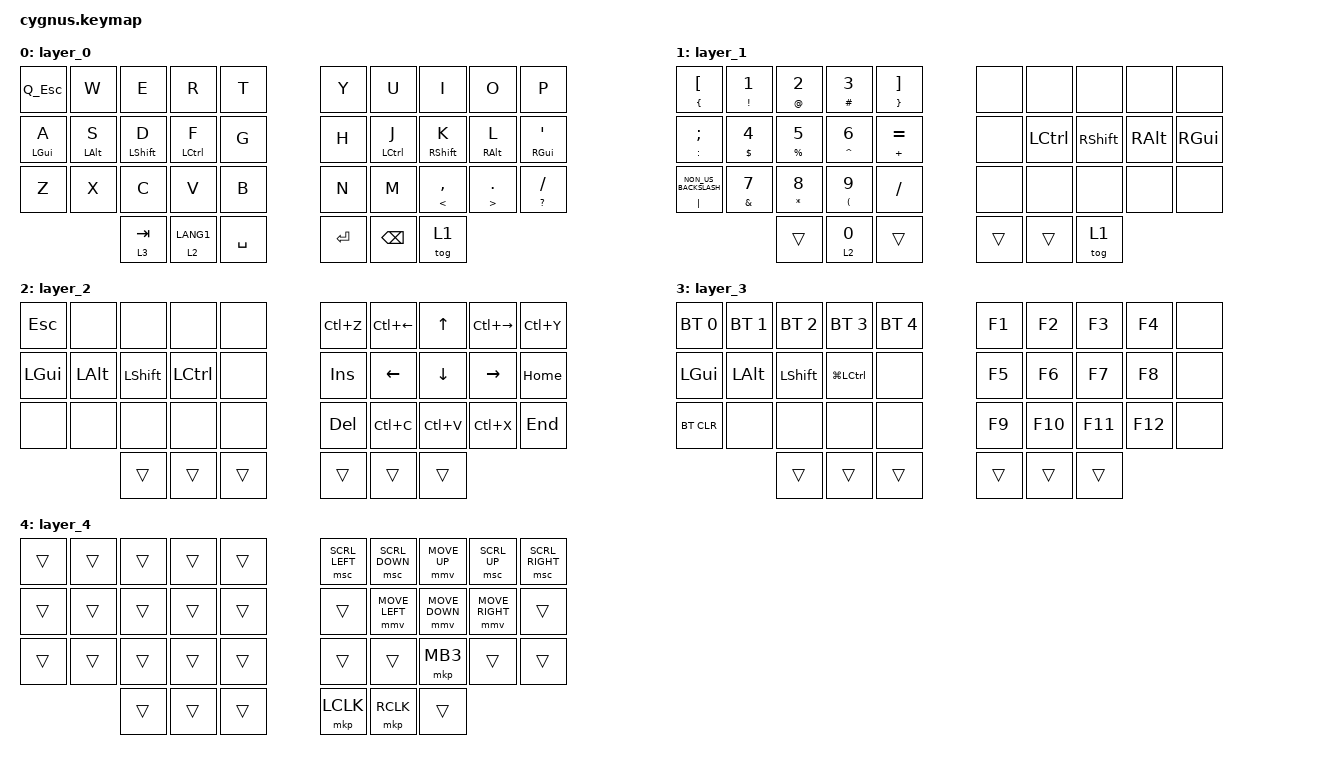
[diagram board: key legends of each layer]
/*
 * Copyright (c) 2020 The ZMK Contributors
 *
 * SPDX-License-Identifier: MIT
 */

#include <dt-bindings/zmk/mouse.h>
#include <behaviors.dtsi>
#include <dt-bindings/zmk/bt.h>
#include <dt-bindings/zmk/keys.h>
#include <dt-bindings/zmk/pointing.h>

#define ZMK_POINTING_DEFAULT_MOVE_VAL 1500  // default: 600
#define ZMK_POINTING_DEFAULT_SCRL_VAL 20    // default: 10


&mt {
    tapping-term-ms = <200>;
    flavor = "tap-preferred";
};

&sk {
    release-after-ms = <2000>;
    quick-release;
};

/ {
    combos {
        compatible = "zmk,combos";

        Com_Del {
            bindings = <&kp DELETE>;
            key-positions = <0 1>;
        };

        Com_Plus {
            bindings = <&kp PLUS>;
            key-positions = <1 2>;
        };

        Com_Minus {
            bindings = <&kp MINUS>;
            key-positions = <2 3>;
        };

        Com_Percent {
            bindings = <&kp PERCENT>;
            key-positions = <4 3>;
        };

        Com_Copy {
            bindings = <&kp LC(C)>;
            key-positions = <21 22>;
        };

        Com_Paste {
            bindings = <&kp LC(V)>;
            key-positions = <22 23>;
        };

        Com_Cut {
            bindings = <&kp LC(X)>;
            key-positions = <21 23>;
        };

        Com_Colon {
            bindings = <&kp COLON>;
            key-positions = <6 7>;
        };

        Com_Splash {
            bindings = <&kp SLASH>;
            key-positions = <8 7>;
        };

        Com_LeftParen {
            bindings = <&LeftPar>;
            key-positions = <16 17>;
        };

        Com_RightParen {
            bindings = <&RightPar>;
            key-positions = <17 18>;
        };

        Com_LeftBracket {
            bindings = <&kp LEFT_BRACKET>;
            key-positions = <26 27>;
        };

        Com_RightBarcket {
            bindings = <&kp RIGHT_BRACKET>;
            key-positions = <27 28>;
        };

        Com_Mouse {
            bindings = <&tog 4>;
            key-positions = <1 3>;
        };
    };

    behaviors {
        hm: homerow_mods {
            compatible = "zmk,behavior-hold-tap";
            label = "HOMEROW_MODS";
            #binding-cells = <2>;
            tapping-term-ms = <200>;
            quick_tap_ms = <0>;
            flavor = "tap-preferred";
            bindings = <&kp>, <&kp>;

            quick-tap-ms = <180>;
            global-quick-tap;
        };

        ltq: ltq {
            compatible = "zmk,behavior-hold-tap";
            label = "LTQ";
            #binding-cells = <2>;
            tapping-term-ms = <200>;
            quick_tap_ms = <0>;
            flavor = "hold-preferred";
            bindings = <&mo>, <&kp>;

            quick-tap-ms = <180>;
            global-quick-tap;
        };

        as: as {
            compatible = "zmk,behavior-hold-tap";
            label = "AUTO_SHIFT";
            bindings = <&kp>, <&kp>;

            #binding-cells = <2>;
            tapping-term-ms = <135>;
            quick-tap-ms = <0>;
            flavor = "tap-preferred";
        };

        LeftPar: LeftPar {
            compatible = "zmk,behavior-mod-morph";
            label = "LEFTPAR";
            bindings = <&kp LEFT_PARENTHESIS>, <&kp LESS_THAN>;

            #binding-cells = <0>;
            mods = <(MOD_LSFT|MOD_RSFT)>;
        };

        RightPar: RightPar {
            compatible = "zmk,behavior-mod-morph";
            label = "RIGHTPAR";
            bindings = <&kp RIGHT_PARENTHESIS>, <&kp GREATER_THAN>;

            #binding-cells = <0>;
            mods = <(MOD_LSFT|MOD_RSFT)>;
        };

        Q_Esc: Q_Esc {
            compatible = "zmk,behavior-tap-dance";
            label = "Q_ESC";
            #binding-cells = <0>;
            bindings = <&kp Q>, <&kp ESC>;
        };
    };

    keymap {
        compatible = "zmk,keymap";

        layer_0 {
            bindings = <
&Q_Esc          &kp W           &kp E             &kp R        &kp T      &kp Y      &kp U          &kp I                &kp O                    &kp P
&hm LEFT_GUI A  &hm LEFT_ALT S  &hm LEFT_SHIFT D  &hm LCTRL F  &kp G      &kp H      &hm LCTRL J    &hm RSHFT K          &hm RIGHT_ALT L          &hm RIGHT_GUI SQT
&kp Z           &kp X           &kp C             &kp V        &kp B      &kp N      &kp M          &as LESS_THAN COMMA  &as GREATER_THAN PERIOD  &as QUESTION SLASH
                                &lt 3 TAB         &lt 2 LANG1  &kp SPACE  &kp ENTER  &kp BACKSPACE  &tog 1
            >;
        };

        layer_1 {
            bindings = <
&as LEFT_BRACE LEFT_BRACKET  &as EXCLAMATION NUMBER_1  &as AT_SIGN NUMBER_2  &as HASH NUMBER_3        &as RIGHT_BRACE RIGHT_BRACKET  &none   &none      &none            &none          &none
&as COLON SEMICOLON          &as DOLLAR NUMBER_4       &as PERCENT N5        &as CARET NUMBER_6       &as PLUS EQUAL                 &none   &kp LCTRL  &kp RIGHT_SHIFT  &kp RIGHT_ALT  &kp RIGHT_GUI
&as PIPE NON_US_BACKSLASH    &as AMPERSAND N7          &as ASTERISK N8       &as LEFT_PARENTHESIS N9  &kp SLASH                      &none   &none      &none            &none          &none
                                                       &trans                &lt 2 N0                 &trans                         &trans  &trans     &tog 1
            >;
        };

        layer_2 {
            bindings = <
&kp ESC       &none         &none           &none      &none   &kp LC(Z)  &kp LC(LEFT)  &kp UP_ARROW  &kp LC(RIGHT)  &kp LC(Y)
&kp LEFT_GUI  &kp LEFT_ALT  &kp LEFT_SHIFT  &kp LCTRL  &none   &kp INS    &kp LEFT      &kp DOWN      &kp RIGHT      &kp HOME
&none         &none         &none           &none      &none   &kp DEL    &kp LC(C)     &kp LC(V)     &kp LC(X)      &kp END
                            &trans          &trans     &trans  &trans     &trans        &trans
            >;
        };

        layer_3 {
            bindings = <
&bt BT_SEL 0  &bt BT_SEL 1  &bt BT_SEL 2    &bt BT_SEL 3   &bt BT_SEL 4  &kp F1  &kp F2   &kp F3   &kp F4   &none
&kp LEFT_GUI  &kp LEFT_ALT  &kp LEFT_SHIFT  &kp LG(LCTRL)  &none         &kp F5  &kp F6   &kp F7   &kp F8   &none
&bt BT_CLR    &none         &none           &none          &none         &kp F9  &kp F10  &kp F11  &kp F12  &none
                            &trans          &trans         &trans        &trans  &trans   &trans
            >;
        };

        layer_4 {
            bindings = <
&trans  &trans  &trans  &trans  &trans  &msc SCRL_LEFT  &msc SCRL_DOWN  &mmv MOVE_UP    &msc SCRL_UP     &msc SCRL_RIGHT
&trans  &trans  &trans  &trans  &trans  &trans          &mmv MOVE_LEFT  &mmv MOVE_DOWN  &mmv MOVE_RIGHT  &trans
&trans  &trans  &trans  &trans  &trans  &trans          &trans          &mkp MB3        &trans           &trans
                &trans  &trans  &trans  &mkp LCLK       &mkp RCLK       &trans
            >;
        };
    };
};
